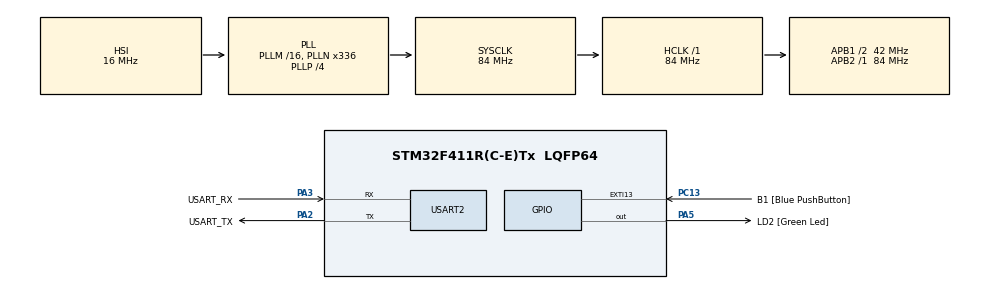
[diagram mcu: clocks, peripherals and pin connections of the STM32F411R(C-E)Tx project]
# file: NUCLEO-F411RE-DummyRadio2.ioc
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Dma.Request0=USART2_RX
Dma.Request1=USART2_TX
Dma.USART2_RX.0.Direction=DMA_PERIPH_TO_MEMORY
Dma.USART2_RX.0.FIFOMode=DMA_FIFOMODE_DISABLE
Dma.USART2_RX.0.Instance=DMA1_Stream5
Dma.USART2_RX.0.MemDataAlignment=DMA_MDATAALIGN_BYTE
Dma.USART2_RX.0.MemInc=DMA_MINC_ENABLE
Dma.USART2_RX.0.Mode=DMA_CIRCULAR
Dma.USART2_RX.0.PeriphDataAlignment=DMA_PDATAALIGN_BYTE
Dma.USART2_RX.0.PeriphInc=DMA_PINC_DISABLE
Dma.USART2_RX.0.Priority=DMA_PRIORITY_LOW
Dma.USART2_TX.1.Direction=DMA_MEMORY_TO_PERIPH
Dma.USART2_TX.1.FIFOMode=DMA_FIFOMODE_DISABLE
Dma.USART2_TX.1.Instance=DMA1_Stream6
Dma.USART2_TX.1.MemDataAlignment=DMA_MDATAALIGN_BYTE
Dma.USART2_TX.1.MemInc=DMA_MINC_ENABLE
Dma.USART2_TX.1.Mode=DMA_NORMAL
Dma.USART2_TX.1.PeriphDataAlignment=DMA_PDATAALIGN_BYTE
Dma.USART2_TX.1.PeriphInc=DMA_PINC_DISABLE
Dma.USART2_TX.1.Priority=DMA_PRIORITY_LOW
FREERTOS.Tasks01=defaultTask,0,128,StartDefaultTask,Default,NULL,Dynamic,NULL,NULL
FREERTOS.configUSE_NEWLIB_REENTRANT=1
Mcu.Family=STM32F4
Mcu.Name=STM32F411R(C-E)Tx
Mcu.Package=LQFP64
NVIC.DMA1_Stream5_IRQn=true\:5\:0\:false\:false\:true\:true\:false\:true\:true
NVIC.DMA1_Stream6_IRQn=true\:5\:0\:false\:false\:true\:true\:false\:true\:true
NVIC.PriorityGroup=NVIC_PRIORITYGROUP_4
NVIC.TIM2_IRQn=true\:15\:0\:false\:false\:true\:false\:false\:true\:true
NVIC.TimeBase=TIM2_IRQn
NVIC.TimeBaseIP=TIM2
NVIC.USART2_IRQn=true\:5\:0\:false\:false\:true\:true\:true\:true\:true
PA13.GPIO_Label=TMS
PA13.Mode=Serial_Wire
PA13.Signal=SYS_JTMS-SWDIO
PA14.GPIO_Label=TCK
PA14.Mode=Serial_Wire
PA14.Signal=SYS_JTCK-SWCLK
PA2.GPIO_Label=USART_TX
PA2.Mode=Asynchronous
PA2.Signal=USART2_TX
PA3.GPIO_Label=USART_RX
PA3.Mode=Asynchronous
PA3.Signal=USART2_RX
PA5.GPIO_Label=LD2 [Green Led]
PA5.Signal=GPIO_Output
PB3.GPIO_Label=SWO
PB3.Signal=SYS_JTDO-SWO
PC13-ANTI_TAMP.GPIO_Label=B1 [Blue PushButton]
PC13-ANTI_TAMP.GPIO_ModeDefaultEXTI=GPIO_MODE_IT_FALLING
PC13-ANTI_TAMP.Signal=GPXTI13
PC14-OSC32_IN.Mode=LSE-External-Oscillator
PC14-OSC32_IN.Signal=RCC_OSC32_IN
PC15-OSC32_OUT.Mode=LSE-External-Oscillator
PC15-OSC32_OUT.Signal=RCC_OSC32_OUT
PH0\ -\ OSC_IN.Mode=HSE-External-Clock-Source
PH0\ -\ OSC_IN.Signal=RCC_OSC_IN
PH1\ -\ OSC_OUT.Mode=HSE-External-Clock-Source
PH1\ -\ OSC_OUT.Signal=RCC_OSC_OUT
ProjectManager.HeapSize=0x200
ProjectManager.StackSize=0x400
ProjectManager.TargetToolchain=STM32CubeIDE
RCC.48MHZClocksFreq_Value=84000000
RCC.AHBFreq_Value=84000000
RCC.APB1CLKDivider=RCC_HCLK_DIV2
RCC.APB1Freq_Value=42000000
RCC.APB1TimFreq_Value=84000000
RCC.APB2Freq_Value=84000000
RCC.APB2TimFreq_Value=84000000
RCC.CortexFreq_Value=84000000
RCC.FLatency-AdvancedSettings=FLASH_LATENCY_2
RCC.HCLKFreq_Value=84000000
RCC.HSE_VALUE=8000000
RCC.HSI_VALUE=16000000
RCC.PLLN=336
RCC.PLLP=RCC_PLLP_DIV4
RCC.SYSCLKFreq_VALUE=84000000
RCC.SYSCLKSource=RCC_SYSCLKSOURCE_PLLCLK
RCC.VCOOutputFreq_Value=336000000
USART2.VirtualMode=VM_ASYNC
VP_CRC_VS_CRC.Mode=CRC_Activate
VP_FREERTOS_VS_CMSIS_V1.Mode=CMSIS_V1
VP_SYS_VS_tim2.Mode=TIM2
board=NUCLEO-F411RE

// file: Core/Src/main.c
/* USER CODE BEGIN Header */
/**
  ******************************************************************************
  * @file           : main.c
  * @brief          : Main program body
  ******************************************************************************
  * @attention
  *
  * Copyright (c) 2022 STMicroelectronics.
  * All rights reserved.
  *
  * This software is licensed under terms that can be found in the LICENSE file
  * in the root directory of this software component.
  * If no LICENSE file comes with this software, it is provided AS-IS.
  *
  ******************************************************************************
  */
/* USER CODE END Header */
#include "main.h"
#include "cmsis_os.h"

/* USER CODE BEGIN Includes */
#include <stdio.h>
#include <time.h>
#include <stdlib.h>
#include <stdint.h>
#include <string.h>
#include "pack_data.h"
#include "btcp.h"
#include "protocol_ids.h"
#include <stdbool.h>
/* USER CODE END Includes */

/* USER CODE BEGIN PD */
#define BSSR_SERIAL_START 0xa5
#define BSSR_SERIAL_ESCAPE 0x5a
#define BBMB_ADDRESS 0x01
#define PPTMB_ADDRESS 0x02
#define MCMB_ADDRESS 0x03
#define DCMB_ADDRESS 0x04

#define MAX_PACKET_SIZE 256
#define HEADER_LENGTH 4
#define CRC_LENGTH 4

//Data ID 00
#define BUS_METRICS_LENGTH 12
#define MC2_STATE_LENGTH 8
//Data ID 01
#define CELL_METRICS_LENGTH 20 //20 for each cell and there are 29 cell in total, single cell data send at once
#define PPT_METRICS_LENGTH 28 //16 for each ppt and there are 3 ptt in total + 4 non repeating initial bytes
#define SPEED_PULSE_READING_LENGTH 4
#define BBOX_STARTUP_LENGTH 4
//Data ID 02
#define BSD_LENGTH 4
#define MOTOR_TEMPERATURE_LENGTH 4
#define PPTBOX_STARTUP_LENGTH 4
//Data ID 03
#define BMS_MCU_STATUS_LENGTH 16
#define LIGHT_STATE_LENGTH 4
#define SUPP_BATTERY_LENGTH 8
//Data ID 04
#define STEERING_WHEEL_LENGTH 4
//Data ID 05
#define BMS_DATA_REQUEST_LENGTH 8
#define MOTOR_CONTROL_STATE_LENGTH 12
//Data ID 06
#define RELAY_STATE_LENGTH 8
//Data ID 07
#define PEDAL_ANGLE_LENGTH 12
#define BMS_CELL_TEMP_LENGTH 24
//Data ID 08
#define SIDE_PANEL_LENGTH 4
#define BMS_CELL_VOLT_LENGTH 24
//Data ID 09
#define BMS_CELL_SOC_LENGTH 24

//Data ID 0B
#define TEXT_STRING_LENGTH 4
//Data ID 0D
#define LP_BUS_METRICS_LENGTH 20
//Data ID 0E
#define CORE_TEMP_LENGTH 4
//Data ID 0F
#define  HEARTBEAT_LENGTH 4
/* USER CODE END PD */

 CRC_HandleTypeDef hcrc;

UART_HandleTypeDef huart2;
DMA_HandleTypeDef hdma_usart2_rx;
DMA_HandleTypeDef hdma_usart2_tx;

osThreadId defaultTaskHandle;
/* USER CODE BEGIN PV */
uint8_t payload[1000];

//Data ID 00
uint8_t Bus_Metrics_Payload[BUS_METRICS_LENGTH];
uint8_t MC2_State_Payload[MC2_STATE_LENGTH];
//Data ID 01
uint8_t Cell_Metrics_Payload[CELL_METRICS_LENGTH];
uint8_t PPT_Metrics_Payload[PPT_METRICS_LENGTH];
uint8_t Speed_Pulse_Reading_Payload[SPEED_PULSE_READING_LENGTH];
uint8_t BBox_Startup_Payload[BBOX_STARTUP_LENGTH];
//Data ID 02
uint8_t BSD_Payload[BSD_LENGTH];
uint8_t Motor_Temperature_Payload[MOTOR_TEMPERATURE_LENGTH];
uint8_t PPTBox_Startup_Payload[PPTBOX_STARTUP_LENGTH];
//Data ID 03
uint8_t BMS_MCU_Status_Payload[BMS_MCU_STATUS_LENGTH];
uint8_t Light_State_Payload[LIGHT_STATE_LENGTH];
uint8_t Supp_Battery_Metric_Payload[SUPP_BATTERY_LENGTH];
//Data ID 04
uint8_t Streeting_Wheel_Payload[STEERING_WHEEL_LENGTH];
//Data ID 05
uint8_t BMS_Data_request[BMS_DATA_REQUEST_LENGTH];
uint8_t Motor_Control_State_Payload[MOTOR_CONTROL_STATE_LENGTH];
//Data ID 06
uint8_t Relay_State[RELAY_STATE_LENGTH];
//Data ID 07
uint8_t Pedal_Angle[PEDAL_ANGLE_LENGTH];
//Data ID 08
uint8_t Side_Panel[SIDE_PANEL_LENGTH];
//Data ID 0B
uint8_t Text_String[TEXT_STRING_LENGTH];
//Data ID 0D
uint8_t LP_Bus_Metrics_Payload[LP_BUS_METRICS_LENGTH];
//Data ID 0E
uint8_t Core_Temp_Payload[CORE_TEMP_LENGTH];
//Data ID 0F
uint8_t Heartbeat_Payload[HEARTBEAT_LENGTH];

//SeqNum is [0,255]
uint8_t BBMB_SeqNum = 0;
uint8_t PPTMB_SeqNum = 0;
uint8_t MCMB_SeqNum = 0;
uint8_t DCMB_SeqNum = 0;

B_uartHandle_t* buart;
B_tcpHandle_t* btcp;
/* USER CODE END PV */

void SystemClock_Config(void);
static void MX_GPIO_Init(void);
static void MX_DMA_Init(void);
static void MX_USART2_UART_Init(void);
static void MX_CRC_Init(void);
void StartDefaultTask(void const * argument);

/* USER CODE BEGIN 0 */
/* USER CODE BEGIN 0 */
/* DATA ASSUMPTIONS:
 * Temp Range: 20-60
 * Max Temp Range: 20-30
 * Min Temp Range: 40-60
 * Reference: Aymon
 *
 * Current Range: 0-2 (6 digits after decimal)
 * Reference: Visual inspection from GenX test telemetry data
 *
 * Voltage Range: 2-5 (6 digits after decimal)
 * Reference: Visual inspection from GenX test telemetry data
 *
 * Bus_Metrics_Generator:
 *   samples of aggregate(0x03): 0x01
 * Reference: GenX PPTMB -> main.c -> static void adcTask(const void *pv);
 *
 * PPT_Metrics_Generator:
 *   PPT numbers: 7
 *   # of Sample Aggregate: 0x01
 * Reference: GenX PPTMB -> main.c -> static void adcTask(const void *pv);
 *
 * Speed_Pulse_Reading_And_MOT_LED_State_Generator:
 *   MOT_LED state: 0-1
 *   Speed_pulse Hz(uint16_t count): 0-255
 * Reference: GenX MCMB -> main.c -> static void spdTmr(TimerHandle_t xTimer);
 *
 * MC2_State_Generator:
 *   5 digital Buttons: 00000-11110 = 0-30
 *   Acc Pot (outputVal): 0 or 0xff
 * Reference: GenX DCMB -> main.c -> static void mc2StateTmr(TimerHandle_t xTimer);
 *
 * BBox_Startup_Generator:
 *   State (ignition_state): 0-1
 * Reference: GenX DCMB -> main.c -> void ignition_check(uint8_t data);
 *
 * PPTBox_Startup_Generator:
 *   State (array_state): 0-1
 * Reference: GenX DCMB -> main.c -> void ignition_check(uint8_t data);
 *
 * Light_State_Generator:
 *   left, right, brake: 0-1
 * Reference: GenX DCMB -> main.c -> static void lightsTmr(TimerHandle_t xTimer);
 *
 * Horn_State_Generator:
 *   State (horn_on): 0-1
 * Reference: GenX DCMB -> main.c -> static void buttonCheck(uint8_t state);
 * */

//Generate a random value in [max, min]
//One byte can express number 0-255, thus max<=255 && min>=0 && max>min
uint8_t getRandomValue(int min, int max){
    uint8_t r = rand() % (max + 1 - min) + min;
    return r;
}

//Insert num of random value in p starting at p[startPos]
void insertRandomValue(uint8_t* p, int startPos, int num, int min, int max){
    for(int i = startPos; i<startPos+num; i++){
        uint8_t r = getRandomValue(min, max);
        *(p+i) = r;
    }
}

float getRandomFloat(int min, int max) {
    float random = ((float) rand()) / (float) RAND_MAX;
    float diff = max - min;
    float r = random * diff;
    return min + r;
}

//Data ID 00
//Data ID 00
void Bus_Metrics_Generator(uint8_t data_ID, uint8_t* p){
    *p = data_ID;
    float Voltage_min = 100;  // random max and min
    float Voltage_max = 120;
    float Current_min = 10;  // random max and min
    float Current_max = 20;
    *(p+1) = 0x00;
    *(p+2) = 0x00;
    *(p+3) = 0x01;
    floatToArray(getRandomFloat(Voltage_min, Voltage_max), p+4);
    floatToArray(getRandomFloat(Current_min, Current_max), p+8);

}
void MC2_State_Generator(uint8_t* p){
	float min = 3;  // random max and min
	float max = 4;
	p[0] = DCMB_MC2_STATE_ID;
	p[1] = getRandomValue(0, 6); // moduleID
	p[2] = 0;
	p[3] = 0;
	floatToArray(getRandomFloat(min, max), p+4);
}
//Data ID 01
//void Cell_Metrics_Generator(uint8_t* p, uint8_t cellNum){
//	*(p) = 0x01;
//	*(p+1) = cellNum;
//	*(p+2) = 0x00;
//	*(p+3) = 0x01;
//	insertRandomValue(p, 4, 16, 0, 255);
//}
void PPT_Metrics_Generator(uint8_t* p){ //double check max and min values
	float Voltage_min = 0;  // random max and min for voltage
	float Voltage_max = 0;
	float Current_min = 0;  // random max and min for current
	float Current_max = 0;
	*p = PPTMB_PPT_METRICS_ID;
	p[1] = 0;
	p[2] = 0;
	p[3] = 0;
	floatToArray(getRandomFloat(Voltage_min, Voltage_max), p+4);
	floatToArray(getRandomFloat(Current_min, Current_max), p+8);
	floatToArray(getRandomFloat(Voltage_min, Voltage_max), p+12);
	floatToArray(getRandomFloat(Current_min, Current_max), p+16);
	floatToArray(getRandomFloat(Voltage_min, Voltage_max), p+20);
	floatToArray(getRandomFloat(Current_min, Current_max), p+24);
}
void Speed_Pulse_Reading_Generator(uint8_t* p){
    *p = MCMB_CAR_SPEED_ID;
    insertRandomValue(p, 1, 1, 75, 80); //cruise speed 75-80
    *(p+2) = 0x00;
    *(p+3) = 0x00;
}
void BBox_Startup_Generator(uint8_t* p){
    *p = DCMB_BBOX_STARTUP_ID;
    insertRandomValue(p, 1, 1, 0, 1);
    *(p+2) = 0x00;
    *(p+3) = 0x00;
}
//Data ID 02
void BSD_Generator(uint8_t* p){
    *p = BBMB_BSD_ID;
    insertRandomValue(p, 1, 3, 0, 255);
}
void Motor_Temperature_Generator(uint8_t* p){
    *p = MCMB_MOTOR_TEMPERATURE_ID;
    insertRandomValue(p, 1, 1, 0, 40);
    *(p+2) = 0x00;
    *(p+3) = 0x00;
}
void PPTBox_Startup_Generator(uint8_t* p){
    *p = DCMB_PPTBOX_STARTUP_ID;
    insertRandomValue(p, 1, 1, 0, 1);
    *(p+2) = 0x00;
    *(p+3) = 0x00;
}
//Data ID 03
void BMS_MCU_Status_Generator(uint8_t* p){
    *p = BBMB_BMS_MCU_STATUS_ID;
    float min = 3;  // random max and min
  	float max = 4;
  	p[1] = 0;
  	p[2] = 0;
  	p[3] = 0;
  	floatToArray(getRandomFloat(min, max), p+4);
  	floatToArray(getRandomFloat(min, max), p+8);
  	floatToArray(getRandomFloat(min, max), p+12);
    insertRandomValue(p, 1, 15, 0, 255);
}
void Light_State_Generator(uint8_t* p){
    *p = DCMB_LIGHTCONTROL_ID;
    insertRandomValue(p, 1, 3, 0, 1);
}
void Supp_Battery_Metric_Generator(uint8_t* p){
	float min = 3;  // random max and min
	float max = 4;
	*p = MCMB_SUPP_BATT_VOLTAGE_ID;
	p[1] = 0;
	p[2] = 0;
	p[3] = 0;
	floatToArray(getRandomFloat(min, max), p+4);
}
//Data ID 04
void Streeting_Wheel_Generator(uint8_t* p){
    *p = DCMB_STEERING_WHEEL_ID;
    insertRandomValue(p, 1, 1, 0, 1);
    *(p+2) = 0x00;
    *(p+3) = 0x00;
}
//Data ID 05
//void BMS_Data_request_Generator(uint8_t* p){
//	float min = 3;  // random max and min
//	float max = 4;
//	*p = BMS_Data_request_Generator_ID;
//	p[1] = 0;
//	p[2] = 0;
//	p[3] = 0;
//	floatToArray(getRandomFloat(min, max), p+4);
//}
void Motor_Control_State_Generator(uint8_t* buf){

	uint8_t motorState = getRandomValue(0, 4);
	uint16_t motorTargetPower = getRandomValue(0, 256); // value from 0 - 256
	uint8_t motorTargetSpeed = (motorState == 2 ? getRandomValue(0, 120) : 0);
	uint8_t digitalButtons = 0;
	digitalButtons |= getRandomValue(0, 1) << 3; //fwdrev (forward is 0)
 	digitalButtons |= getRandomValue(0, 1) << 2; //vfmup
	digitalButtons |= getRandomValue(0, 1) << 1; //vfmdown
	digitalButtons |= getRandomValue(0, 1); //eco (eco is 0, power is 1)

	buf[0] = DCMB_MOTOR_CONTROL_STATE_ID;
	buf[1] = motorState;
	buf[2] = digitalButtons;
	packi16(&buf[4], (uint16_t) motorTargetPower);
	buf[8] = motorTargetSpeed;
}
//Data ID 06
void Relay_State_Generator(uint8_t data_ID, uint8_t* p){

	p[0] = data_ID;
	p[1] = getRandomValue(0, 1);
	p[2] = getRandomValue(0, 1);
	p[3] = getRandomValue(0, 1);
	p[4] = getRandomValue(0, 3);
	p[5] = ((p[4] == 1 || p[4] == 2) ? getRandomValue(0, 29) : 0);
	p[6] = (p[4] == 0 ? getRandomValue(0, 35) : 0);
}
//Data ID 07
void Pedal_Angle_Generator(uint8_t* p){
	float min = 0;  // random max and min
	float max = 1;
	*p = DCMB_PEDALS_ANGLE_ID;
	p[1] = 0;
	p[2] = 0;
	p[3] = 0;
	floatToArray(getRandomFloat(min, max), p+4);
	floatToArray(getRandomFloat(min, max), p+8);
}
void BMS_Cell_Temp_Generator(uint8_t* p) {
	float min = 20;
	float max = 100;
	p[0] = BMS_CELL_TEMP_ID;
	p[1] = getRandomValue(0, 6); // moduleID - representing one battery module
	p[2] = 0;
	p[3] = 0;
	floatToArray(getRandomFloat(min, max), p+4);
	floatToArray(getRandomFloat(min, max), p+8);
	floatToArray(getRandomFloat(min, max), p+12);
}

//Data ID 08
void Side_Panel_Generator(uint8_t* p){
    *p = DCMB_SIDE_PANEL_ID;
    insertRandomValue(p,1,3,0,1);
}

void BMS_Cell_Volt_Generator(uint8_t* p) {
	float min = 3;  // cell voltage is between 3 and 4, usually around 3.7
	float max = 4;
	p[0] = BMS_CELL_VOLT_ID;
	p[1] = getRandomValue(0, 6); // moduleID
	p[2] = 0;
	p[3] = 0;
	floatToArray(getRandomFloat(min, max), p+4);
	floatToArray(getRandomFloat(min, max), p+8);
	floatToArray(getRandomFloat(min, max), p+12);
	floatToArray(getRandomFloat(min, max), p+16);
	floatToArray(getRandomFloat(min, max), p+20);
}

//Data ID 09
void BMS_Cell_SOC_Generator(uint8_t* p) {
	float min = 0;  // State of Charge is a percentage
	float max = 100;
	p[0] = BMS_CELL_SOC_ID;
	p[1] = getRandomValue(0, 6); // moduleID
	p[2] = 0;
	p[3] = 0;
	floatToArray(getRandomFloat(min, max), p+4);
	floatToArray(getRandomFloat(min, max), p+8);
	floatToArray(getRandomFloat(min, max), p+12);
	floatToArray(getRandomFloat(min, max), p+16);
	floatToArray(getRandomFloat(min, max), p+20);
}

//Data ID 0B
void Text_String_Generator(uint8_t* p){
	float min = 0;  // random values
	float max = 1;
	p[0] = MCMB_LP_BUS_METRICS_ID;
	p[1] = 0;
	p[2] = 0;
	p[3] = 0;
	floatToArray(getRandomFloat(min, max), p+4);
}
//Data ID 0D
//void LP_Bus_Metrics_Generator(uint8_t* p){ //not used
//	float min = 0;  // random vals
//	float max = 10;
//	p[0] = BBMB_LP_BUS_METRICS_ID;
//	p[1] = 0;
//	p[2] = 0;
//	p[3] = 0;
//	floatToArray(getRandomFloat(min, max), p+4);
//	floatToArray(getRandomFloat(min, max), p+8);
//	floatToArray(getRandomFloat(min, max), p+12);
//	floatToArray(getRandomFloat(min, max), p+16);
//}
//Data ID 0E
void Core_Temp_Generator(uint8_t* p){
    *p = MCMB_CORE_TEMP_ID;
    insertRandomValue(p, 1, 3, 20, 60);
}
//Data ID 0F
void Heartbeat_Generator(uint8_t* p, uint8_t heartbeat_id){
    *p = heartbeat_id;
    *(p+1) = 0x00;
    *(p+2) = 0x00;
    *(p+3) = 0x00;
}

//void dummySend(uint8_t payloadLength, uint8_t senderAddress, uint8_t* seqNum, uint8_t* payload){
//
//	uint8_t buf[HEADER_LENGTH + MAX_PACKET_SIZE + CRC_LENGTH];
//
//	buf[0] = BSSR_SERIAL_START;
//	buf[1] = payloadLength;
//	buf[2] = senderAddress;
//	buf[3] = *seqNum;
//	memcpy(buf+4, payload, payloadLength);
//	uint32_t crc_result = ~HAL_CRC_Calculate(&hcrc, (uint32_t*)buf, payloadLength+4);
//
//	uint16_t buf_pos = 0;
//
//	buf[buf_pos] = BSSR_SERIAL_START;
//	buf_pos++;
//
//	if(payloadLength == BSSR_SERIAL_START || payloadLength == BSSR_SERIAL_ESCAPE){
//		buf[buf_pos] = BSSR_SERIAL_ESCAPE;
//		buf_pos++;
//		buf[buf_pos] = payloadLength;
//		buf_pos++;
//	} else{
//		buf[buf_pos] = payloadLength;
//		buf_pos++;
//	}
//
//	buf[buf_pos] = senderAddress;
//	buf_pos++;
//
//	if(*seqNum == BSSR_SERIAL_START || *seqNum == BSSR_SERIAL_ESCAPE){
//		buf[buf_pos] = BSSR_SERIAL_ESCAPE;
//		buf_pos++;
//		buf[buf_pos] = *seqNum;
//		buf_pos++;
//	} else{
//		buf[buf_pos] = *seqNum;
//		buf_pos++;
//	}
//	(*seqNum)++;
//
//	for(int i=0; i<payloadLength; i++){
//		if(*(payload+i) == BSSR_SERIAL_ESCAPE || *(payload+i) == BSSR_SERIAL_START){
//			buf[buf_pos] = BSSR_SERIAL_ESCAPE;
//			buf_pos++;
//			buf[buf_pos] = *(payload+i);
//			buf_pos++;
//		} else{
//			buf[buf_pos] = *(payload+i);
//			buf_pos++;
//		}
//	}
//
//	for(int i=0; i<4; i++){
//		uint8_t crc = (crc_result>>(8*(3-i))) & 255;
//		if(crc == BSSR_SERIAL_ESCAPE || crc == BSSR_SERIAL_START){
//			buf[buf_pos] = BSSR_SERIAL_ESCAPE;
//			buf_pos++;
//			buf[buf_pos] = crc;
//			buf_pos++;
//		} else{
//			buf[buf_pos] = crc;
//			buf_pos++;
//		}
//	}
//
//	if(buf_pos%4 != 0) {
//	        int paddingNum = 4 - buf_pos % 4;
//	        for (int i = paddingNum; i > 0; i--) {
//	            buf[buf_pos] = 0x00;
//	            buf_pos++;
//	        }
//	    }
//
//	HAL_UART_Transmit(&huart2, buf, buf_pos, HAL_MAX_DELAY);
//}

void BBMB(){

	btcp->senderID = BBMB_ID;
	btcp->tcpSeqNum = BBMB_SeqNum;

	Bus_Metrics_Generator(BBMB_BUS_METRICS_ID, payload);
	B_tcpSend(btcp, payload, BUS_METRICS_LENGTH);

	Relay_State_Generator(BBMB_RELAYS_STATE_ID, payload);
	B_tcpSend(btcp, payload, RELAY_STATE_LENGTH);

	Heartbeat_Generator(payload, BBMB_HEARTBEAT_ID);
	B_tcpSend(btcp, payload, HEARTBEAT_LENGTH);

	BMS_Cell_Temp_Generator(payload);
	B_tcpSend(btcp, payload, BMS_CELL_TEMP_LENGTH);

	BMS_Cell_Volt_Generator(payload);
	B_tcpSend(btcp, payload, BMS_CELL_VOLT_LENGTH);

	BMS_Cell_SOC_Generator(payload);
	B_tcpSend(btcp, payload, BMS_CELL_SOC_LENGTH);

	Heartbeat_Generator(payload, BMS_HEARTBEAT_ID);
	B_tcpSend(btcp, payload, HEARTBEAT_LENGTH);

	BBMB_SeqNum = btcp->tcpSeqNum;

}

void PPTMB(){
	btcp->senderID = PPTMB_ID;
	btcp->tcpSeqNum = PPTMB_SeqNum;

	Bus_Metrics_Generator(PPTMB_BUS_METRICS_ID, payload);
	B_tcpSend(btcp, payload, BUS_METRICS_LENGTH);

	Relay_State_Generator(PPTMB_RELAYS_STATE_ID, payload);
	B_tcpSend(btcp, payload, RELAY_STATE_LENGTH);

	Heartbeat_Generator(payload, PPTMB_HEARTBEAT_ID);
	B_tcpSend(btcp, payload, HEARTBEAT_LENGTH);

	PPTMB_SeqNum = btcp->tcpSeqNum;
}

void MCMB(){
	btcp->senderID = MCMB_ID;
	btcp->tcpSeqNum = MCMB_SeqNum;

    Bus_Metrics_Generator(MCMB_BUS_METRICS_ID, payload);
    B_tcpSend(btcp, payload, BUS_METRICS_LENGTH);

    Speed_Pulse_Reading_Generator(payload);
    B_tcpSend(btcp, payload, SPEED_PULSE_READING_LENGTH);

    Heartbeat_Generator(payload, MCMB_HEARTBEAT_ID);
    B_tcpSend(btcp, payload, HEARTBEAT_LENGTH);

    MCMB_SeqNum = btcp->tcpSeqNum;
}

void DCMB(){

	btcp->senderID = MCMB_ID;
	btcp->tcpSeqNum = MCMB_SeqNum;

    Light_State_Generator(payload);//there
    B_tcpSend(btcp, payload, LIGHT_STATE_LENGTH);

    Motor_Control_State_Generator(payload);//there
    B_tcpSend(btcp, payload, MOTOR_CONTROL_STATE_LENGTH);

    Relay_State_Generator(DCMB_RELAYS_STATE_ID, payload);//there
    B_tcpSend(btcp, payload, RELAY_STATE_LENGTH);

    Heartbeat_Generator(Heartbeat_Payload, DCMB_HEARTBEAT_ID);//there
    B_tcpSend(btcp, payload, HEARTBEAT_LENGTH);

    DCMB_SeqNum = btcp->tcpSeqNum;

}
/* USER CODE END 0 */

int main(void)
{

  /* MCU Configuration--------------------------------------------------------*/

  /* Reset of all peripherals, Initializes the Flash interface and the Systick. */
  HAL_Init();

  /* Configure the system clock */
  SystemClock_Config();

  /* Initialize all configured peripherals */
  MX_GPIO_Init();
  MX_DMA_Init();
  MX_USART2_UART_Init();
  MX_CRC_Init();
  /* USER CODE BEGIN 2 */
  srand(time(NULL));

  /* USER CODE END 2 */

  /* Create the thread(s) */
  /* definition and creation of defaultTask */
  osThreadDef(defaultTask, StartDefaultTask, osPriorityNormal, 0, 128);
  defaultTaskHandle = osThreadCreate(osThread(defaultTask), NULL);

  /* USER CODE BEGIN RTOS_THREADS */
  /* add threads, ... */

  buart = B_uartStart(&huart2);
  btcp = B_tcpStart(BMS_ID, &buart, buart, 1, &hcrc);
  //char buffer[100] = {"\0"};
  /* USER CODE END RTOS_THREADS */

  /* Start scheduler */
  osKernelStart();

  /* We should never get here as control is now taken by the scheduler */
  /* Infinite loop */
  while (1)
  {

  }
}

void SystemClock_Config(void)
{
  RCC_OscInitTypeDef RCC_OscInitStruct = {0};
  RCC_ClkInitTypeDef RCC_ClkInitStruct = {0};

  /** Configure the main internal regulator output voltage
  */
  __HAL_RCC_PWR_CLK_ENABLE();
  __HAL_PWR_VOLTAGESCALING_CONFIG(PWR_REGULATOR_VOLTAGE_SCALE1);

  /** Initializes the RCC Oscillators according to the specified parameters
  * in the RCC_OscInitTypeDef structure.
  */
  RCC_OscInitStruct.OscillatorType = RCC_OSCILLATORTYPE_HSI;
  RCC_OscInitStruct.HSIState = RCC_HSI_ON;
  RCC_OscInitStruct.HSICalibrationValue = RCC_HSICALIBRATION_DEFAULT;
  RCC_OscInitStruct.PLL.PLLState = RCC_PLL_ON;
  RCC_OscInitStruct.PLL.PLLSource = RCC_PLLSOURCE_HSI;
  RCC_OscInitStruct.PLL.PLLM = 16;
  RCC_OscInitStruct.PLL.PLLN = 336;
  RCC_OscInitStruct.PLL.PLLP = RCC_PLLP_DIV4;
  RCC_OscInitStruct.PLL.PLLQ = 4;
  if (HAL_RCC_OscConfig(&RCC_OscInitStruct) != HAL_OK)
  {
    Error_Handler();
  }

  /** Initializes the CPU, AHB and APB buses clocks
  */
  RCC_ClkInitStruct.ClockType = RCC_CLOCKTYPE_HCLK|RCC_CLOCKTYPE_SYSCLK
                              |RCC_CLOCKTYPE_PCLK1|RCC_CLOCKTYPE_PCLK2;
  RCC_ClkInitStruct.SYSCLKSource = RCC_SYSCLKSOURCE_PLLCLK;
  RCC_ClkInitStruct.AHBCLKDivider = RCC_SYSCLK_DIV1;
  RCC_ClkInitStruct.APB1CLKDivider = RCC_HCLK_DIV2;
  RCC_ClkInitStruct.APB2CLKDivider = RCC_HCLK_DIV1;

  if (HAL_RCC_ClockConfig(&RCC_ClkInitStruct, FLASH_LATENCY_2) != HAL_OK)
  {
    Error_Handler();
  }
}

static void MX_CRC_Init(void)
{

  hcrc.Instance = CRC;
  if (HAL_CRC_Init(&hcrc) != HAL_OK)
  {
    Error_Handler();
  }

}

static void MX_USART2_UART_Init(void)
{

  huart2.Instance = USART2;
  huart2.Init.BaudRate = 115200;
  huart2.Init.WordLength = UART_WORDLENGTH_8B;
  huart2.Init.StopBits = UART_STOPBITS_1;
  huart2.Init.Parity = UART_PARITY_NONE;
  huart2.Init.Mode = UART_MODE_TX_RX;
  huart2.Init.HwFlowCtl = UART_HWCONTROL_NONE;
  huart2.Init.OverSampling = UART_OVERSAMPLING_16;
  if (HAL_UART_Init(&huart2) != HAL_OK)
  {
    Error_Handler();
  }

}

static void MX_DMA_Init(void)
{

  /* DMA controller clock enable */
  __HAL_RCC_DMA1_CLK_ENABLE();

  /* DMA interrupt init */
  /* DMA1_Stream5_IRQn interrupt configuration */
  HAL_NVIC_SetPriority(DMA1_Stream5_IRQn, 5, 0);
  HAL_NVIC_EnableIRQ(DMA1_Stream5_IRQn);
  /* DMA1_Stream6_IRQn interrupt configuration */
  HAL_NVIC_SetPriority(DMA1_Stream6_IRQn, 5, 0);
  HAL_NVIC_EnableIRQ(DMA1_Stream6_IRQn);

}

static void MX_GPIO_Init(void)
{
  GPIO_InitTypeDef GPIO_InitStruct = {0};

  /* GPIO Ports Clock Enable */
  __HAL_RCC_GPIOC_CLK_ENABLE();
  __HAL_RCC_GPIOH_CLK_ENABLE();
  __HAL_RCC_GPIOA_CLK_ENABLE();
  __HAL_RCC_GPIOB_CLK_ENABLE();

  /*Configure GPIO pin Output Level */
  HAL_GPIO_WritePin(LD2_GPIO_Port, LD2_Pin, GPIO_PIN_RESET);

  /*Configure GPIO pin : B1_Pin */
  GPIO_InitStruct.Pin = B1_Pin;
  GPIO_InitStruct.Mode = GPIO_MODE_IT_FALLING;
  GPIO_InitStruct.Pull = GPIO_NOPULL;
  HAL_GPIO_Init(B1_GPIO_Port, &GPIO_InitStruct);

  /*Configure GPIO pin : LD2_Pin */
  GPIO_InitStruct.Pin = LD2_Pin;
  GPIO_InitStruct.Mode = GPIO_MODE_OUTPUT_PP;
  GPIO_InitStruct.Pull = GPIO_NOPULL;
  GPIO_InitStruct.Speed = GPIO_SPEED_FREQ_LOW;
  HAL_GPIO_Init(LD2_GPIO_Port, &GPIO_InitStruct);

}

void StartDefaultTask(void const * argument)
{
  /* USER CODE BEGIN 5 */
  /* Infinite loop */
  for(;;)
  {
	BBMB();
	PPTMB();
	MCMB();
	DCMB();
    osDelay(500);
  }
  /* USER CODE END 5 */
}

void HAL_TIM_PeriodElapsedCallback(TIM_HandleTypeDef *htim)
{
  if (htim->Instance == TIM2) {
    HAL_IncTick();
  }
}

void Error_Handler(void)
{
  __disable_irq();
  while (1)
  {
  }
}
